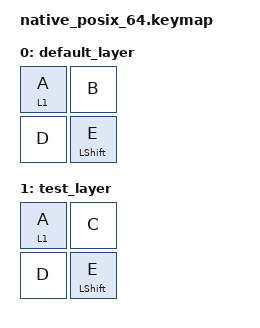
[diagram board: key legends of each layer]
#include <dt-bindings/zmk/keys.h>
#include <behaviors.dtsi>
#include <dt-bindings/zmk/kscan_mock.h>

/ {
    behaviors {
        lht_layer: behavior_linger_hold_tap_layer {
            compatible = "zmk,behavior-hold-tap";
            #binding-cells = <2>;
            flavor = "tap-preferred";
            tapping-term-ms = <200>;
            linger-ms = <150>;
            bindings = <&mo>, <&kp>;
        };
    };

    keymap {
        compatible = "zmk,keymap";

        default_layer {
            bindings = <
                &lht_layer 1 A &kp B
                &kp D &mt LSHIFT E
            >;
        };

        test_layer {
            bindings = <
                &lht_layer 1 A &kp C
                &kp D &mt LSHIFT E
            >;
        };
    };
};

&kscan {
    events = <
        ZMK_MOCK_PRESS(0, 0, 250)
        ZMK_MOCK_RELEASE(0, 0, 50)
        ZMK_MOCK_PRESS(0, 0, 50)
        ZMK_MOCK_RELEASE(0, 0, 50)
        ZMK_MOCK_PRESS(0, 1, 10)
        ZMK_MOCK_RELEASE(0, 1, 10)
    >;
};
